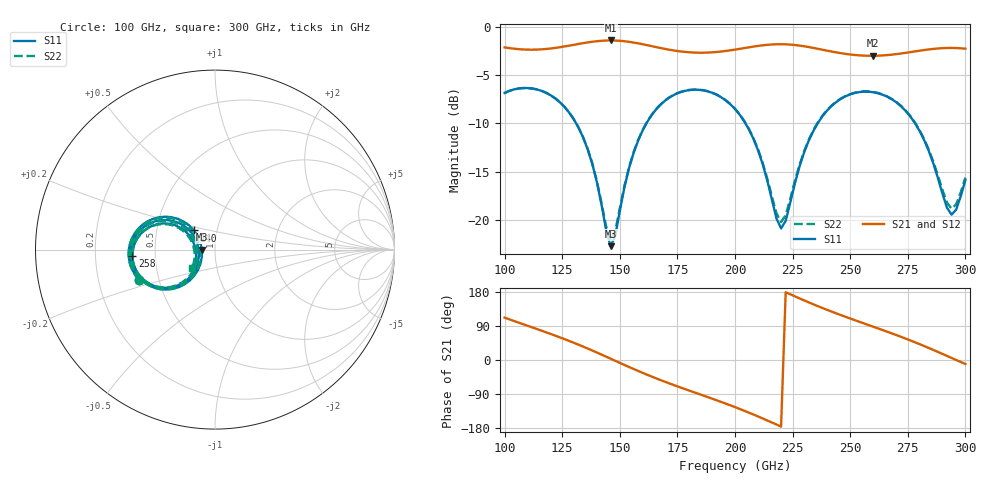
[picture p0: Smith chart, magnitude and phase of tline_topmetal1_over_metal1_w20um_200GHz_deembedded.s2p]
! Created with skrf 2.2.0 (http://scikit-rf.org).
# GHz S DB R 50.0
! Port[1] = P1
! Port[2] = P2
!freq dBS11 angS11 dBS21 angS21 dBS12 angS12 dBS22 angS22
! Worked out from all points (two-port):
!   101 points, 100 GHz to 300 GHz, reference 50 ohm
!   highest |S21| = -1.42 dB at 146 GHz (marker M1); lowest = -3.0 dB at 260 GHz (marker M2)
!   |S21| within 3 dB of the highest: start of sweep to end of sweep
!   lowest |S11| = -22.7 dB at 146 GHz (marker M3), VSWR 1.16, Z = 43.2 + j0.0143 ohm
!   |S11| at or under -10 dB: 131 GHz to 161.6 GHz (30.52 GHz wide, 20.9 % of centre); 204.5 GHz to 235.9 GHz (31.32 GHz wide, 14.2 % of centre); 278.2 GHz to end of sweep
!   |S22| runs from -22.1 to -6.3 dB; largest |S21 - S12| = 1.2e-13
!   S11 on the Smith chart (normalised r, x): 100 GHz: 0.39, -0.16; 140 GHz: 0.77, +0.17; 258 GHz: 0.37, -0.03; 300 GHz: 0.77, -0.17
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100  -6.85 -158.3  -2.14 111.8  -2.14 111.8  -6.85 -158.0
116  -6.63 171.9  -2.34 77.4  -2.34 77.4  -6.63 172.4
126  -8.29 153.5  -2.04 55.1  -2.04 55.1  -8.28 154.3
134  -11.41 140.4  -1.70 35.6  -1.70 35.6  -11.39 141.6
140  -16.02 137.6  -1.50 19.8  -1.50 19.8  -15.92 139.4
146  -22.69 179.9  -1.42 3.5  -1.42 3.5  -22.14 -179.2
148  -21.63 -152.0  -1.43 -2.1  -1.43 -2.1  -21.17 -152.9
156  -13.04 -129.3  -1.63 -23.7  -1.63 -23.7  -12.96 -130.0
168  -7.99 -147.9  -2.22 -53.7  -2.22 -53.7  -7.96 -147.9
184  -6.52 -176.6  -2.68 -89.0  -2.68 -89.0  -6.50 -176.3
200  -8.51 155.6  -2.37 -124.3  -2.37 -124.3  -8.48 156.5
210  -12.78 142.8  -1.98 -149.0  -1.98 -149.0  -12.69 144.5
220  -20.86 -176.7  -1.81 -175.8  -1.81 -175.8  -20.19 -176.1
226  -16.20 -135.0  -1.89 167.9  -1.89 167.9  -15.94 -136.8
234  -10.78 -136.2  -2.19 147.0  -2.19 147.0  -10.70 -137.1
246  -7.45 -155.1  -2.74 118.4  -2.74 118.4  -7.42 -155.4
258  -6.72 -175.6  -3.00 92.2  -3.00 92.2  -6.69 -175.5
260  -6.77 -178.9  -3.00 87.9  -3.00 87.9  -6.75 -178.8
268  -7.49 167.8  -2.89 70.4  -2.89 70.4  -7.46 168.2
280  -10.73 150.3  -2.48 42.1  -2.48 42.1  -10.65 151.4
294  -19.44 -175.3  -2.19 5.5  -2.19 5.5  -18.82 -175.2
300  -15.88 -139.1  -2.27 -10.7  -2.27 -10.7  -15.59 -141.1
